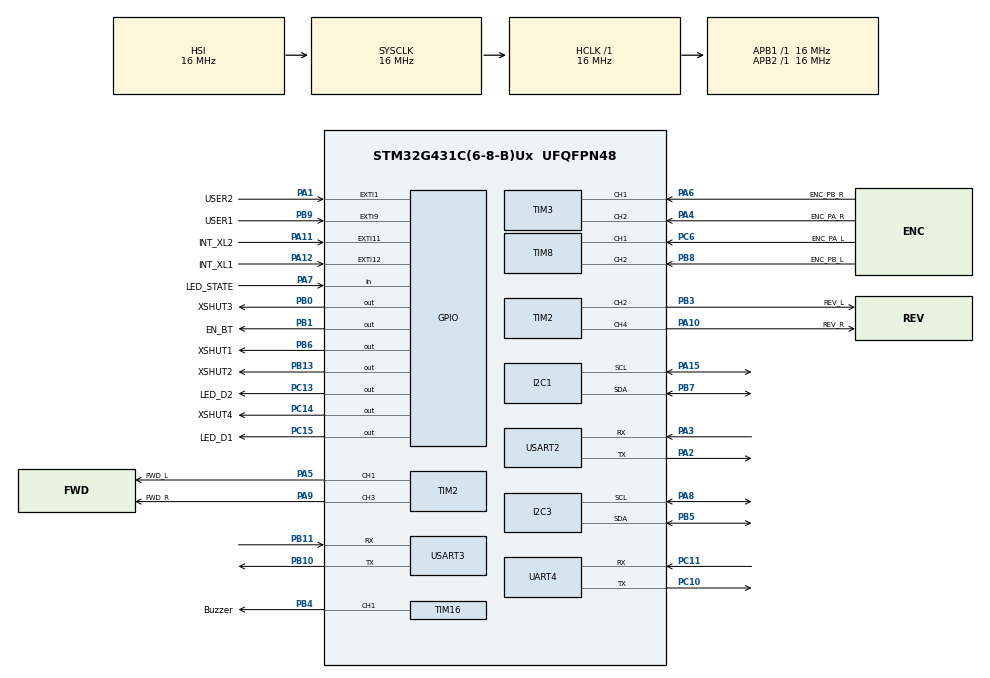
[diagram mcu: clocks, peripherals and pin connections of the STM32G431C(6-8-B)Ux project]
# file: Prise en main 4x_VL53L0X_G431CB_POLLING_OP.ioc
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I2C1.Timing=0x00503D58
I2C3.Timing=0x00503D58
Mcu.Family=STM32G4
Mcu.Name=STM32G431C(6-8-B)Ux
Mcu.Package=UFQFPN48
NVIC.PriorityGroup=NVIC_PRIORITYGROUP_4
NVIC.TIM7_IRQn=true\:0\:0\:false\:false\:true\:true\:true\:true
PA1.GPIO_Label=USER2
PA1.Signal=GPXTI1
PA10.GPIO_Label=REV_R
PA10.Signal=S_TIM2_CH4
PA11.GPIO_Label=INT_XL2
PA11.Signal=GPXTI11
PA12.GPIO_Label=INT_XL1
PA12.Signal=GPXTI12
PA13.Mode=Serial_Wire
PA13.Signal=SYS_JTMS-SWDIO
PA14.Mode=Serial_Wire
PA14.Signal=SYS_JTCK-SWCLK
PA15.Mode=I2C
PA15.Signal=I2C1_SCL
PA2.Mode=Asynchronous
PA2.Signal=USART2_TX
PA3.Mode=Asynchronous
PA3.Signal=USART2_RX
PA4.GPIO_Label=ENC_PA_R
PA4.Signal=S_TIM3_CH2
PA5.GPIO_Label=FWD_L
PA5.Signal=S_TIM2_CH1
PA6.GPIO_Label=ENC_PB_R
PA6.Signal=S_TIM3_CH1
PA7.GPIO_Label=LED_STATE
PA7.Signal=GPIO_Input
PA8.Mode=I2C
PA8.Signal=I2C3_SCL
PA9.GPIO_Label=FWD_R
PA9.Signal=S_TIM2_CH3
PB0.GPIO_Label=XSHUT3
PB0.GPIO_PuPd=GPIO_PULLUP
PB0.GPIO_Speed=GPIO_SPEED_FREQ_LOW
PB0.PinState=GPIO_PIN_SET
PB0.Signal=GPIO_Output
PB1.GPIO_Label=EN_BT
PB1.Signal=GPIO_Output
PB10.Mode=Asynchronous
PB10.Signal=USART3_TX
PB11.Mode=Asynchronous
PB11.Signal=USART3_RX
PB13.GPIO_Label=XSHUT2
PB13.GPIO_PuPd=GPIO_PULLUP
PB13.GPIO_Speed=GPIO_SPEED_FREQ_LOW
PB13.PinState=GPIO_PIN_SET
PB13.Signal=GPIO_Output
PB15.GPIO_Label=M_CTRL
PB15.Signal=S_TIM15_CH2
PB3.GPIO_Label=REV_L
PB3.Signal=S_TIM2_CH2
PB4.GPIO_Label=Buzzer
PB4.Signal=S_TIM16_CH1
PB5.Mode=I2C
PB5.Signal=I2C3_SDA
PB6.GPIO_Label=XSHUT1
PB6.GPIO_PuPd=GPIO_PULLUP
PB6.GPIO_Speed=GPIO_SPEED_FREQ_LOW
PB6.PinState=GPIO_PIN_SET
PB6.Signal=GPIO_Output
PB7.Mode=I2C
PB7.Signal=I2C1_SDA
PB8-BOOT0.GPIO_Label=ENC_PB_L
PB8-BOOT0.Signal=S_TIM8_CH2
PB9.GPIO_Label=USER1
PB9.Signal=GPXTI9
PC10.Mode=Asynchronous
PC10.Signal=UART4_TX
PC11.Mode=Asynchronous
PC11.Signal=UART4_RX
PC13.GPIO_Label=LED_D2
PC13.Signal=GPIO_Output
PC14-OSC32_IN.GPIO_Label=XSHUT4
PC14-OSC32_IN.GPIO_PuPd=GPIO_PULLUP
PC14-OSC32_IN.PinState=GPIO_PIN_SET
PC14-OSC32_IN.Signal=GPIO_Output
PC15-OSC32_OUT.GPIO_Label=LED_D1
PC15-OSC32_OUT.Signal=GPIO_Output
PC6.GPIO_Label=ENC_PA_L
PC6.Signal=S_TIM8_CH1
PF0-OSC_IN.Mode=HSE-External-Oscillator
PF0-OSC_IN.Signal=RCC_OSC_IN
PF1-OSC_OUT.Mode=HSE-External-Oscillator
PF1-OSC_OUT.Signal=RCC_OSC_OUT
ProjectManager.HeapSize=0x200
ProjectManager.StackSize=0x400
ProjectManager.TargetToolchain=STM32CubeIDE
RCC.AHBFreq_Value=16000000
RCC.APB1Freq_Value=16000000
RCC.APB1TimFreq_Value=16000000
RCC.APB2Freq_Value=16000000
RCC.APB2TimFreq_Value=16000000
RCC.CortexFreq_Value=16000000
RCC.EXTERNAL_CLOCK_VALUE=12288000
RCC.HCLKFreq_Value=16000000
RCC.HSE_VALUE=8000000
RCC.HSI48_VALUE=48000000
RCC.HSI_VALUE=16000000
RCC.LSE_VALUE=32768
RCC.SYSCLKFreq_VALUE=16000000
RCC.USBFreq_Value=64000000
RCC.VCOOutputFreq_Value=128000000
SH.S_TIM15_CH2.0=TIM15_CH2
SH.S_TIM16_CH1.0=TIM16_CH1,PWM Generation1 CH1
SH.S_TIM2_CH1.0=TIM2_CH1,PWM Generation1 CH1
SH.S_TIM2_CH2.0=TIM2_CH2,PWM Generation2 CH2
SH.S_TIM2_CH3.0=TIM2_CH3,PWM Generation3 CH3
SH.S_TIM2_CH4.0=TIM2_CH4,PWM Generation4 CH4
SH.S_TIM3_CH1.0=TIM3_CH1,Encoder_Interface
SH.S_TIM3_CH2.0=TIM3_CH2,Encoder_Interface
SH.S_TIM8_CH1.0=TIM8_CH1,Encoder_Interface
SH.S_TIM8_CH2.0=TIM8_CH2,Encoder_Interface
TIM16.Channel=TIM_CHANNEL_1
TIM2.Channel-PWM\ Generation1\ CH1=TIM_CHANNEL_1
TIM2.Channel-PWM\ Generation2\ CH2=TIM_CHANNEL_2
TIM2.Channel-PWM\ Generation3\ CH3=TIM_CHANNEL_3
TIM2.Channel-PWM\ Generation4\ CH4=TIM_CHANNEL_4
USART2.VirtualMode-Asynchronous=VM_ASYNC
USART3.VirtualMode-Asynchronous=VM_ASYNC
VP_SYS_VS_DBSignals.Mode=DisableDeadBatterySignals
VP_TIM16_VS_ClockSourceINT.Mode=Enable_Timer
VP_TIM7_VS_ClockSourceINT.Mode=Enable_Timer
board=custom

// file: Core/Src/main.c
/* USER CODE BEGIN Header */
/**
 ******************************************************************************
 * @file           : main.c
 * @brief          : Main program body
 ******************************************************************************
 * @attention
 *
 * Copyright (c) 2026 STMicroelectronics.
 * All rights reserved.
 *
 * This software is licensed under terms that can be found in the LICENSE file
 * in the root directory of this software component.
 * If no LICENSE file comes with this software, it is provided AS-IS.
 *
 ******************************************************************************
 */
/* USER CODE END Header */
#include "main.h"
#include "i2c.h"
#include "tim.h"
#include "usart.h"
#include "gpio.h"

/* USER CODE BEGIN Includes */
#include "VL53L0X.h"
#include "stdio.h"
#include "string.h"
/* USER CODE END Includes */

/* USER CODE BEGIN PD */
// === XSHUT PINS ===
#define XSHUT_TOF1_GPIO_Port GPIOB
#define XSHUT_TOF1_Pin       GPIO_PIN_6

#define XSHUT_TOF2_GPIO_Port GPIOB
#define XSHUT_TOF2_Pin       GPIO_PIN_13

#define XSHUT_TOF3_GPIO_Port GPIOB
#define XSHUT_TOF3_Pin       GPIO_PIN_0

#define XSHUT_TOF4_GPIO_Port GPIOC
#define XSHUT_TOF4_Pin       GPIO_PIN_14

// === I2C ADDRESSES (7 bits) ===
#define TOF1_ADDR 0x54
#define TOF2_ADDR 0x56
#define TOF3_ADDR 0x58
#define TOF4_ADDR 0x5A
/* USER CODE END PD */

/* USER CODE BEGIN PV */
VL53L0X_Dev_t tof1, tof2, tof3, tof4;
statInfo_t_VL53L0X measure1, measure2, measure3, measure4;
uint16_t dist1, dist2, dist3, dist4;
/* USER CODE END PV */

void SystemClock_Config(void);
/* USER CODE BEGIN PFP */
void init_tof(VL53L0X_Dev_t *tof,GPIO_TypeDef *port, uint16_t pin, uint8_t address);
/* USER CODE END PFP */

/* USER CODE BEGIN 0 */
int __io_putchar(int chr)
{
	HAL_UART_Transmit(&huart4, (uint8_t*) &chr, 1, HAL_MAX_DELAY);
	return chr;
}

void init_tof(VL53L0X_Dev_t *tof, GPIO_TypeDef *port, uint16_t pin, uint8_t address)
{
	HAL_GPIO_WritePin(port, pin, GPIO_PIN_SET);
	HAL_Delay(50);

	if (initVL53L0X(tof, 1, &hi2c3)!=1)
	{
		printf("VL53L0X init error\r\n");
		Error_Handler();
	}

	setAddress_VL53L0X(tof, address);
	setSignalRateLimit(tof, 0.1);
	setVcselPulsePeriod(tof, VcselPeriodPreRange, 18);
	setVcselPulsePeriod(tof, VcselPeriodFinalRange, 14);
	setMeasurementTimingBudget(tof, 200000);
}
/* USER CODE END 0 */

int main(void)
{

	/* MCU Configuration--------------------------------------------------------*/

	/* Reset of all peripherals, Initializes the Flash interface and the Systick. */
	HAL_Init();

	/* Configure the system clock */
	SystemClock_Config();

	/* Initialize all configured peripherals */
	MX_GPIO_Init();
	MX_I2C1_Init();
	MX_I2C3_Init();
	MX_TIM2_Init();
	MX_TIM3_Init();
	MX_TIM8_Init();
	MX_UART4_Init();
	MX_USART2_UART_Init();
	MX_USART3_UART_Init();
	MX_TIM16_Init();
	MX_TIM7_Init();
	/* USER CODE BEGIN 2 */

	printf("\r\n ================= VL53L0X ================= \r\n");

	//	VL53L0X_Init(&h_vl53l0x);
	//	vTaskStartScheduler();

	// === RESET ALL SENSORS ===
	HAL_GPIO_WritePin(XSHUT_TOF1_GPIO_Port, XSHUT_TOF1_Pin, GPIO_PIN_RESET);
	HAL_GPIO_WritePin(XSHUT_TOF2_GPIO_Port, XSHUT_TOF2_Pin, GPIO_PIN_RESET);
	HAL_GPIO_WritePin(XSHUT_TOF3_GPIO_Port, XSHUT_TOF3_Pin, GPIO_PIN_RESET);
	HAL_GPIO_WritePin(XSHUT_TOF4_GPIO_Port, XSHUT_TOF4_Pin, GPIO_PIN_RESET);
	HAL_Delay(50);

	// === INIT SENSORS ONE BY ONE ===
	init_tof(&tof1, XSHUT_TOF1_GPIO_Port, XSHUT_TOF1_Pin, TOF1_ADDR);
	init_tof(&tof2, XSHUT_TOF2_GPIO_Port, XSHUT_TOF2_Pin, TOF2_ADDR);
	init_tof(&tof3, XSHUT_TOF3_GPIO_Port, XSHUT_TOF3_Pin, TOF3_ADDR);
	init_tof(&tof4, XSHUT_TOF4_GPIO_Port, XSHUT_TOF4_Pin, TOF4_ADDR);

	printf("All VL53L0X initialized successfully\r\n");

	/* USER CODE END 2 */

	/* Infinite loop */
	/* USER CODE BEGIN WHILE */
	while (1)
	{
		dist1 = readRangeSingleMillimeters(&tof1, &measure1);
		dist2 = readRangeSingleMillimeters(&tof2, &measure2);
		dist3 = readRangeSingleMillimeters(&tof3, &measure3);
		dist4 = readRangeSingleMillimeters(&tof4, &measure4);

		printf("D1:%4d mm | D2:%4d mm | D3:%4d mm | D4:%4d mm\r\n",
				dist1, dist2, dist3, dist4);

		HAL_Delay(100);
		/* USER CODE END WHILE */

	}
}

void SystemClock_Config(void)
{
	RCC_OscInitTypeDef RCC_OscInitStruct = {0};
	RCC_ClkInitTypeDef RCC_ClkInitStruct = {0};

	/** Configure the main internal regulator output voltage
	 */
	HAL_PWREx_ControlVoltageScaling(PWR_REGULATOR_VOLTAGE_SCALE1);

	/** Initializes the RCC Oscillators according to the specified parameters
	 * in the RCC_OscInitTypeDef structure.
	 */
	RCC_OscInitStruct.OscillatorType = RCC_OSCILLATORTYPE_HSI;
	RCC_OscInitStruct.HSIState = RCC_HSI_ON;
	RCC_OscInitStruct.HSICalibrationValue = RCC_HSICALIBRATION_DEFAULT;
	RCC_OscInitStruct.PLL.PLLState = RCC_PLL_NONE;
	if (HAL_RCC_OscConfig(&RCC_OscInitStruct) != HAL_OK)
	{
		Error_Handler();
	}

	/** Initializes the CPU, AHB and APB buses clocks
	 */
	RCC_ClkInitStruct.ClockType = RCC_CLOCKTYPE_HCLK|RCC_CLOCKTYPE_SYSCLK
			|RCC_CLOCKTYPE_PCLK1|RCC_CLOCKTYPE_PCLK2;
	RCC_ClkInitStruct.SYSCLKSource = RCC_SYSCLKSOURCE_HSI;
	RCC_ClkInitStruct.AHBCLKDivider = RCC_SYSCLK_DIV1;
	RCC_ClkInitStruct.APB1CLKDivider = RCC_HCLK_DIV1;
	RCC_ClkInitStruct.APB2CLKDivider = RCC_HCLK_DIV1;

	if (HAL_RCC_ClockConfig(&RCC_ClkInitStruct, FLASH_LATENCY_0) != HAL_OK)
	{
		Error_Handler();
	}
}

void Error_Handler(void)
{
	__disable_irq();
	while (1)
	{
	}
}
